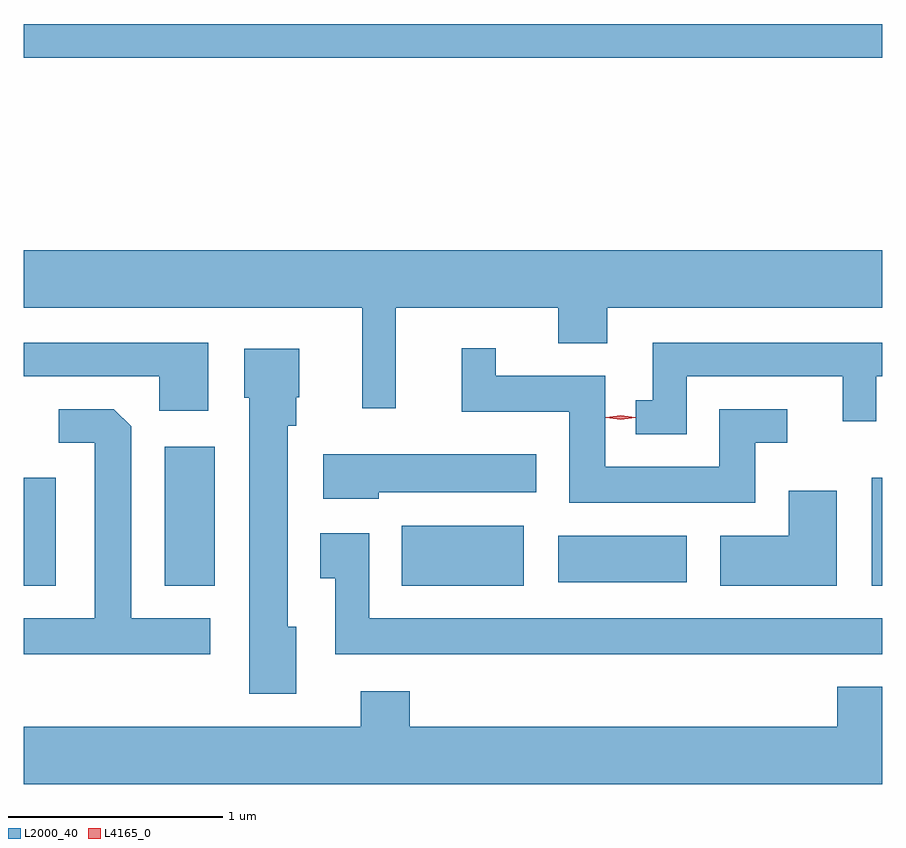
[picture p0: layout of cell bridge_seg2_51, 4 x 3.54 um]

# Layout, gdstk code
import gdstk
lib = gdstk.Library(unit=1e-6, precision=1e-09)
def R(c, l, rs):  # rectangles x0, y0, x1, y1
    for r in rs: c.add(gdstk.rectangle(r[:2], r[2:], *l))
def P(c, l, *ps):  # polygons
    for p in ps: c.add(gdstk.Polygon(p, *l))
L2000_40 = (2000, 40)
L4165_0 = (4165, 0)

bridge_seg2_51 = lib.new_cell('bridge_seg2_51')
R(bridge_seg2_51, L2000_40, [(1467.06,1055.901,1467.209,1056.404), (1467.716,1055.901,1467.949,1056.549), (1468.821,1055.901,1469.389,1056.179), (1471.011,1055.901,1471.06,1056.404), (1469.551,1055.916,1470.149,1056.134), (1467.06,1058.361,1471.06,1058.519)])
P(bridge_seg2_51, L2000_40, [(1468.794,1057.196),(1469.551,1057.196),(1469.551,1057.031),(1469.779,1057.031),(1469.779,1057.196),(1471.06,1057.196),(1471.06,1057.464),(1467.06,1057.464),(1467.06,1057.196),(1468.636,1057.196),(1468.636,1056.728),(1468.794,1056.728)],
  [(1470.149,1056.876),(1470.876,1056.876),(1470.876,1056.668),(1471.034,1056.668),(1471.034,1056.876),(1471.06,1056.876),(1471.06,1057.034),(1469.991,1057.034),(1469.991,1056.764),(1469.913,1056.764),(1469.913,1056.606),(1470.149,1056.606)],
  [(1467.919,1057.034),(1467.06,1057.034),(1467.06,1056.876),(1467.691,1056.876),(1467.691,1056.716),(1467.919,1056.716)],
  [(1470.469,1056.566),(1470.618,1056.566),(1470.618,1056.724),(1470.301,1056.724),(1470.301,1056.454),(1469.769,1056.454),(1469.769,1056.879),(1469.259,1056.879),(1469.259,1057.008),(1469.101,1057.008),(1469.101,1056.711),(1469.601,1056.711),(1469.601,1056.286),(1470.469,1056.286)],
  [(1468.329,1055.709),(1468.289,1055.709),(1468.289,1056.646),(1468.329,1056.646),(1468.329,1056.78),(1468.344,1056.78),(1468.344,1057.004),(1468.086,1057.004),(1468.086,1056.776),(1468.111,1056.776),(1468.111,1055.396),(1468.329,1055.396)],
  [(1467.928,1055.749),(1467.559,1055.749),(1467.559,1056.644),(1467.479,1056.724),(1467.223,1056.724),(1467.223,1056.566),(1467.391,1056.566),(1467.391,1055.749),(1467.06,1055.749),(1467.06,1055.581),(1467.928,1055.581)],
  [(1468.714,1056.336),(1469.449,1056.336),(1469.449,1056.514),(1468.456,1056.514),(1468.456,1056.306),(1468.714,1056.306)],
  [(1470.849,1056.344),(1470.626,1056.344),(1470.626,1056.134),(1470.306,1056.134),(1470.306,1055.901),(1470.849,1055.901)],
  [(1471.06,1055.749),(1468.669,1055.749),(1468.669,1056.144),(1468.441,1056.144),(1468.441,1055.936),(1468.511,1055.936),(1468.511,1055.581),(1471.06,1055.581)],
  [(1471.06,1055.429),(1470.851,1055.429),(1470.851,1055.244),(1468.859,1055.244),(1468.859,1055.409),(1468.631,1055.409),(1468.631,1055.244),(1467.06,1055.244),(1467.06,1054.976),(1471.06,1054.976)])
P(bridge_seg2_51, L4165_0, [(1469.841,1056.675),(1469.772,1056.684),(1469.772,1056.684),(1469.772,1056.685),(1469.841,1056.694),(1469.911,1056.686),(1469.911,1056.685),(1469.911,1056.684)])

lib.write_gds('bridge_seg2_51.gds')
